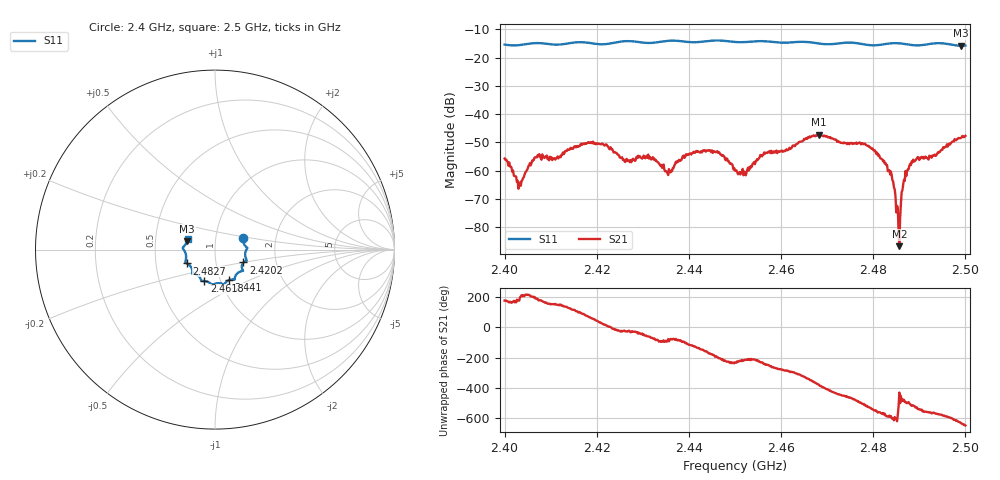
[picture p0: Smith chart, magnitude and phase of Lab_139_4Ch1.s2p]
# Hz S RI R 50
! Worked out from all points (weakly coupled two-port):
!   601 points, 2.4 GHz to 2.5 GHz, reference 50 ohm
!   highest |S21| = -47.24 dB at 2.4682 GHz (marker M1); lowest = -86.7 dB at 2.4857 GHz (marker M2)
!   lowest |S11| = -15.8 dB at 2.499 GHz (marker M3), VSWR 1.39, Z = 36.4 + j3.48 ohm
!   |S11| at or under -10 dB: start of sweep to end of sweep
!   S12 and S22 are empty: the file has one direction only
!   S11 on the Smith chart (normalised r, x): 2.4 GHz: 1.36, +0.18; 2.4202 GHz: 1.36, -0.20; 2.441 GHz: 1.10, -0.39; 2.4618 GHz: 0.84, -0.30; 2.4827 GHz: 0.72, -0.12; 2.5 GHz: 0.73, +0.09
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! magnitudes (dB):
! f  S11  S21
! 2.4 GHz  -15.4  -55.7
! 2.4032 GHz  -15.6  -64.8
! 2.407 GHz  -14.8  -55.3
! 2.4167 GHz  -14.5  -50.5
! 2.4202 GHz  -15.2  -50.5
! 2.4262 GHz  -14.2  -57.0
! 2.4333 GHz  -14.5  -57.1
! 2.4358 GHz  -14.0  -60.4
! 2.441 GHz  -14.6  -53.3
! 2.4462 GHz  -13.9  -53.1
! 2.45 GHz  -14.5  -60.0
! 2.4618 GHz  -14.6  -51.9
! 2.4667 GHz  -14.6  -47.8
! 2.4682 GHz  -15.0  -47.2
! 2.4785 GHz  -15.4  -50.9
! 2.4827 GHz  -15.2  -57.3
! 2.4833 GHz  -15.0  -59.8
! 2.4857 GHz  -14.9  -86.7
! 2.4867 GHz  -15.1  -63.2
! 2.4883 GHz  -15.5  -56.8
! 2.499 GHz  -15.8  -48.5
! 2.5 GHz  -15.7  -47.7
